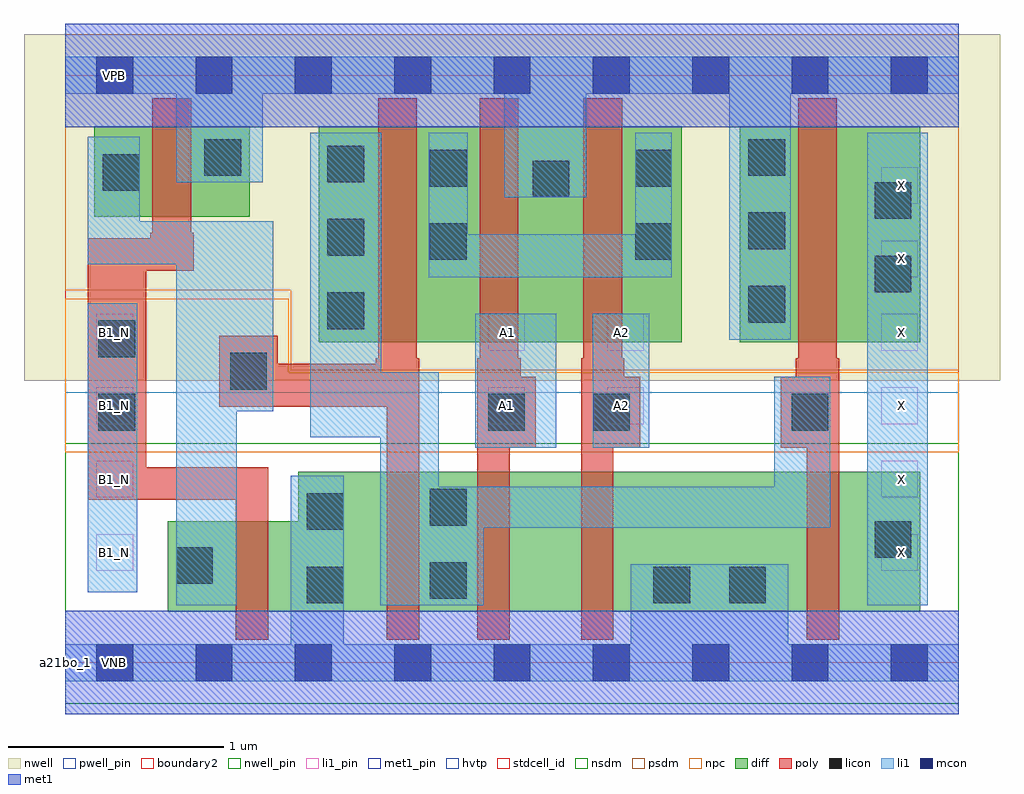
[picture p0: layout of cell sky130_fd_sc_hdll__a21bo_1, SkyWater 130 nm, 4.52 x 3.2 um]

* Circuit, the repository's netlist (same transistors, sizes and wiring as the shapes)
* Copyright 2020 The SkyWater PDK Authors
*
* Licensed under the Apache License, Version 2.0 (the "License");
* you may not use this file except in compliance with the License.
* You may obtain a copy of the License at
*
*     https://www.apache.org/licenses/LICENSE-2.0
*
* Unless required by applicable law or agreed to in writing, software
* distributed under the License is distributed on an "AS IS" BASIS,
* WITHOUT WARRANTIES OR CONDITIONS OF ANY KIND, either express or implied.
* See the License for the specific language governing permissions and
* limitations under the License.
*
* SPDX-License-Identifier: Apache-2.0

.SUBCKT sky130_fd_sc_hdll__a21bo_1 A1 A2 B1_N VGND VNB VPB VPWR X
*.PININFO A1:I A2:I B1_N:I VGND:I VNB:I VPB:I VPWR:I X:O
MMPA0 pndA A1 VPWR VPB sky130_fd_pr__pfet_01v8_hvt m=1 w=1.0U l=0.18U mult=1 sa=0.265
+ sb=0.265 sd=0.28 area=0.063 perim=1.14
MMPA1 pndA A2 VPWR VPB sky130_fd_pr__pfet_01v8_hvt m=1 w=1.0U l=0.18U mult=1 sa=0.265
+ sb=0.265 sd=0.28 area=0.063 perim=1.14
MMPB0 y B1 pndA VPB sky130_fd_pr__pfet_01v8_hvt m=1 w=1.0U l=0.18U mult=1 sa=0.265
+ sb=0.265 sd=0.28 area=0.063 perim=1.14
MMIPB1N B1 B1_N VPWR VPB sky130_fd_pr__pfet_01v8_hvt m=1 w=0.42U l=0.18U mult=1
+ sa=0.265 sb=0.265 sd=0.28 area=0.063 perim=1.14
MMIPX X y VPWR VPB sky130_fd_pr__pfet_01v8_hvt m=1 w=1.0U l=0.18U mult=1 sa=0.265
+ sb=0.265 sd=0.28 area=0.063 perim=1.14
MMNA0 y A1 sndA1 VNB sky130_fd_pr__nfet_01v8 m=1 w=0.65U l=0.15U mult=1 sa=0.265
+ sb=0.265 sd=0.28 area=0.063 perim=1.14
MMNA1 sndA1 A2 VGND VNB sky130_fd_pr__nfet_01v8 m=1 w=0.65U l=0.15U mult=1 sa=0.265
+ sb=0.265 sd=0.28 area=0.063 perim=1.14
MMNB0 y B1 VGND VNB sky130_fd_pr__nfet_01v8 m=1 w=0.65U l=0.15U mult=1 sa=0.265
+ sb=0.265 sd=0.28 area=0.063 perim=1.14
MMINB1N B1 B1_N VGND VNB sky130_fd_pr__nfet_01v8 m=1 w=0.42U l=0.15U mult=1 sa=0.265
+ sb=0.265 sd=0.28 area=0.063 perim=1.14
MMINX X y VGND VNB sky130_fd_pr__nfet_01v8 m=1 w=0.65U l=0.15U mult=1 sa=0.265
+ sb=0.265 sd=0.28 area=0.063 perim=1.14
.ENDS sky130_fd_sc_hdll__a21bo_1

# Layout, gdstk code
import gdstk
lib = gdstk.Library(unit=1e-6, precision=1e-09)
def R(c, l, rs):  # rectangles x0, y0, x1, y1
    for r in rs: c.add(gdstk.rectangle(r[:2], r[2:], *l))
def A(c, l, x, y, w, h, nx, ny, dx, dy):  # array of equal rectangles
    R(c, l, [(x+i*dx, y+j*dy, x+i*dx+w, y+j*dy+h) for i in range(nx) for j in range(ny)])
def P(c, l, *ps):  # polygons
    for p in ps: c.add(gdstk.Polygon(p, *l))
nwell_pin = (64, 16)
nwell = (64, 20)
diff = (65, 20)
poly = (66, 20)
licon = (66, 44)
li1_pin = (67, 16)
li1 = (67, 20)
mcon = (67, 44)
met1_pin = (68, 16)
met1 = (68, 20)
hvtp = (78, 44)
stdcell_id = (81, 4)
nsdm = (93, 44)
psdm = (94, 20)
npc = (95, 20)
pwell_pin = (122, 16)
boundary2 = (236, 0)

sky130_fd_sc_hdll__a21bo = lib.new_cell('sky130_fd_sc_hdll__a21bo_1')
R(sky130_fd_sc_hdll__a21bo, nwell_pin, [(0.145,2.635,0.315,2.805)])
R(sky130_fd_sc_hdll__a21bo, nwell, [(-0.19,1.305,4.33,2.91)])
R(sky130_fd_sc_hdll__a21bo, diff, [(1.175,1.485,2.855,2.485), (3.125,1.485,3.96,2.485), (0.135,2.065,0.855,2.485)])
P(sky130_fd_sc_hdll__a21bo, diff, [(3.96,0.885),(1.08,0.885),(1.08,0.655),(0.475,0.655),(0.475,0.235),(3.96,0.235)])
P(sky130_fd_sc_hdll__a21bo, poly, [(0.94,0.905),(0.375,0.905),(0.375,1.815),(0.595,1.815),(0.595,1.99),(0.585,1.99),(0.585,2.615),(0.405,2.615),(0.405,1.99),(0.395,1.99),(0.395,1.965),(0.105,1.965),(0.105,0.755),(0.79,0.755),(0.79,0.105),(0.94,0.105)],
  [(1.64,1.41),(1.63,1.41),(1.63,2.615),(1.45,2.615),(1.45,1.41),(1.44,1.41),(1.44,1.385),(0.985,1.385),(0.985,1.515),(0.715,1.515),(0.715,1.185),(1.49,1.185),(1.49,0.105),(1.64,0.105)],
  [(2.18,1.325),(2.11,1.325),(2.11,1.41),(2.1,1.41),(2.1,2.615),(1.92,2.615),(1.92,1.41),(1.91,1.41),(1.91,0.105),(2.06,0.105),(2.06,0.995),(2.18,0.995)],
  [(2.665,1.325),(2.59,1.325),(2.59,1.41),(2.58,1.41),(2.58,2.615),(2.4,2.615),(2.4,1.41),(2.39,1.41),(2.39,0.105),(2.54,0.105),(2.54,0.995),(2.665,0.995)],
  [(3.585,1.41),(3.575,1.41),(3.575,2.615),(3.395,2.615),(3.395,1.41),(3.385,1.41),(3.385,1.325),(3.315,1.325),(3.315,0.995),(3.435,0.995),(3.435,0.105),(3.585,0.105)])
A(sky130_fd_sc_hdll__a21bo, licon, 1.215, 1.545, 0.17, 0.17, 1, 3, 0, 0.34)
A(sky130_fd_sc_hdll__a21bo, licon, 3.165, 1.575, 0.17, 0.17, 1, 3, 0, 0.34)
R(sky130_fd_sc_hdll__a21bo, licon, [(1.12,0.275,1.29,0.445), (2.725,0.275,2.895,0.445), (3.075,0.275,3.245,0.445), (1.69,0.295,1.86,0.465), (0.515,0.365,0.685,0.535), (3.75,0.485,3.92,0.655), (1.12,0.615,1.29,0.785), (1.69,0.635,1.86,0.805), (0.155,1.075,0.325,1.245), (1.96,1.075,2.13,1.245), (2.445,1.075,2.615,1.245), (3.365,1.075,3.535,1.245), (0.765,1.265,0.935,1.435), (0.155,1.415,0.325,1.585), (3.75,1.715,3.92,1.885), (1.69,1.865,1.86,2.035), (2.64,1.865,2.81,2.035), (3.75,2.055,3.92,2.225), (2.165,2.155,2.335,2.325), (0.175,2.185,0.345,2.355), (1.69,2.205,1.86,2.375), (2.64,2.205,2.81,2.375), (0.645,2.255,0.815,2.425)])
A(sky130_fd_sc_hdll__a21bo, li1_pin, 0.145, 0.425, 0.17, 0.17, 1, 4, 0, 0.34)
A(sky130_fd_sc_hdll__a21bo, li1_pin, 3.78, 0.425, 0.17, 0.17, 1, 6, 0, 0.34)
R(sky130_fd_sc_hdll__a21bo, li1_pin, [(1.96,1.105,2.13,1.275), (2.51,1.105,2.68,1.275), (1.96,1.445,2.13,1.615), (2.51,1.445,2.68,1.615)])
R(sky130_fd_sc_hdll__a21bo, li1, [(3.715,0.265,3.995,2.455), (0.105,0.325,0.335,1.665), (1.9,0.995,2.275,1.615), (2.445,0.995,2.705,1.615)])
P(sky130_fd_sc_hdll__a21bo, li1, [(0.965,2.045),(0.345,2.045),(0.345,2.435),(0.105,2.435),(0.105,1.845),(0.515,1.845),(0.515,0.265),(0.795,0.265),(0.795,1.165),(0.965,1.165)],
  [(2.81,2.455),(2.64,2.455),(2.64,1.985),(1.865,1.985),(1.865,2.455),(1.685,2.455),(1.685,1.785),(2.81,1.785)],
  [(3.545,1.325),(3.285,1.325),(3.285,0.815),(1.73,0.815),(1.73,1.345),(1.465,1.345),(1.465,2.455),(1.135,2.455),(1.135,1.045),(1.46,1.045),(1.46,0.265),(1.94,0.265),(1.94,0.625),(3.545,0.625)],
  [(4.14,0.085),(3.35,0.085),(3.35,0.455),(2.62,0.455),(2.62,0.085),(1.29,0.085),(1.29,0.865),(1.045,0.865),(1.045,0.085),(0,0.085),(0,-0.085),(4.14,-0.085)],
  [(4.14,2.805),(0,2.805),(0,2.635),(0.515,2.635),(0.515,2.225),(0.915,2.225),(0.915,2.635),(2.035,2.635),(2.035,2.155),(2.415,2.155),(2.415,2.635),(3.075,2.635),(3.075,1.495),(3.36,1.495),(3.36,2.635),(4.14,2.635)])
A(sky130_fd_sc_hdll__a21bo, mcon, 0.145, -0.085, 0.17, 0.17, 9, 2, 0.46, 2.72)
R(sky130_fd_sc_hdll__a21bo, met1_pin, [(0.145,-0.085,0.315,0.085), (0.145,2.635,0.315,2.805)])
R(sky130_fd_sc_hdll__a21bo, met1, [(0,-0.24,4.14,0.24), (0,2.48,4.14,2.96)])
R(sky130_fd_sc_hdll__a21bo, hvtp, [(0,1.25,4.14,2.72)])
R(sky130_fd_sc_hdll__a21bo, stdcell_id, [(0,0,4.14,2.72)])
R(sky130_fd_sc_hdll__a21bo, nsdm, [(0,-0.19,4.14,1.015)])
P(sky130_fd_sc_hdll__a21bo, psdm, [(4.14,2.91),(0,2.91),(0,1.725),(1.045,1.725),(1.045,1.355),(4.14,1.355)])
P(sky130_fd_sc_hdll__a21bo, npc, [(4.14,1.345),(1.035,1.345),(1.035,1.685),(0,1.685),(0,0.975),(4.14,0.975)])
R(sky130_fd_sc_hdll__a21bo, pwell_pin, [(0.145,-0.085,0.315,0.085)])
R(sky130_fd_sc_hdll__a21bo, boundary2, [(0,0,4.14,2.72)])
sky130_fd_sc_hdll__a21bo.add(gdstk.Label('X', (3.875,1.87), layer=67, texttype=5))
sky130_fd_sc_hdll__a21bo.add(gdstk.Label('X', (3.875,2.21), layer=67, texttype=5))
sky130_fd_sc_hdll__a21bo.add(gdstk.Label('A1', (2.045,1.19), layer=67, texttype=5))
sky130_fd_sc_hdll__a21bo.add(gdstk.Label('X', (3.875,1.53), layer=67, texttype=5))
sky130_fd_sc_hdll__a21bo.add(gdstk.Label('X', (3.875,1.19), layer=67, texttype=5))
sky130_fd_sc_hdll__a21bo.add(gdstk.Label('B1_N', (0.23,1.19), layer=67, texttype=5))
sky130_fd_sc_hdll__a21bo.add(gdstk.Label('X', (3.875,0.85), layer=67, texttype=5))
sky130_fd_sc_hdll__a21bo.add(gdstk.Label('A2', (2.575,1.19), layer=67, texttype=5))
sky130_fd_sc_hdll__a21bo.add(gdstk.Label('B1_N', (0.23,1.53), layer=67, texttype=5))
sky130_fd_sc_hdll__a21bo.add(gdstk.Label('X', (3.875,0.51), layer=67, texttype=5))
sky130_fd_sc_hdll__a21bo.add(gdstk.Label('B1_N', (0.23,0.85), layer=67, texttype=5))
sky130_fd_sc_hdll__a21bo.add(gdstk.Label('B1_N', (0.23,0.51), layer=67, texttype=5))
sky130_fd_sc_hdll__a21bo.add(gdstk.Label('A1', (2.05,1.53), layer=67, texttype=5))
sky130_fd_sc_hdll__a21bo.add(gdstk.Label('A2', (2.575,1.53), layer=67, texttype=5))
sky130_fd_sc_hdll__a21bo.add(gdstk.Label('VNB', (0.23,0), layer=64, texttype=59))
sky130_fd_sc_hdll__a21bo.add(gdstk.Label('VPB', (0.23,2.72), layer=64, texttype=5))
sky130_fd_sc_hdll__a21bo.add(gdstk.Label('VGND', (0.23,0), layer=68, texttype=5))
sky130_fd_sc_hdll__a21bo.add(gdstk.Label('VPWR', (0.23,2.72), layer=68, texttype=5))
sky130_fd_sc_hdll__a21bo.add(gdstk.Label('a21bo_1', (0,0), layer=83, texttype=44))

lib.write_gds('sky130_fd_sc_hdll__a21bo_1.gds')
